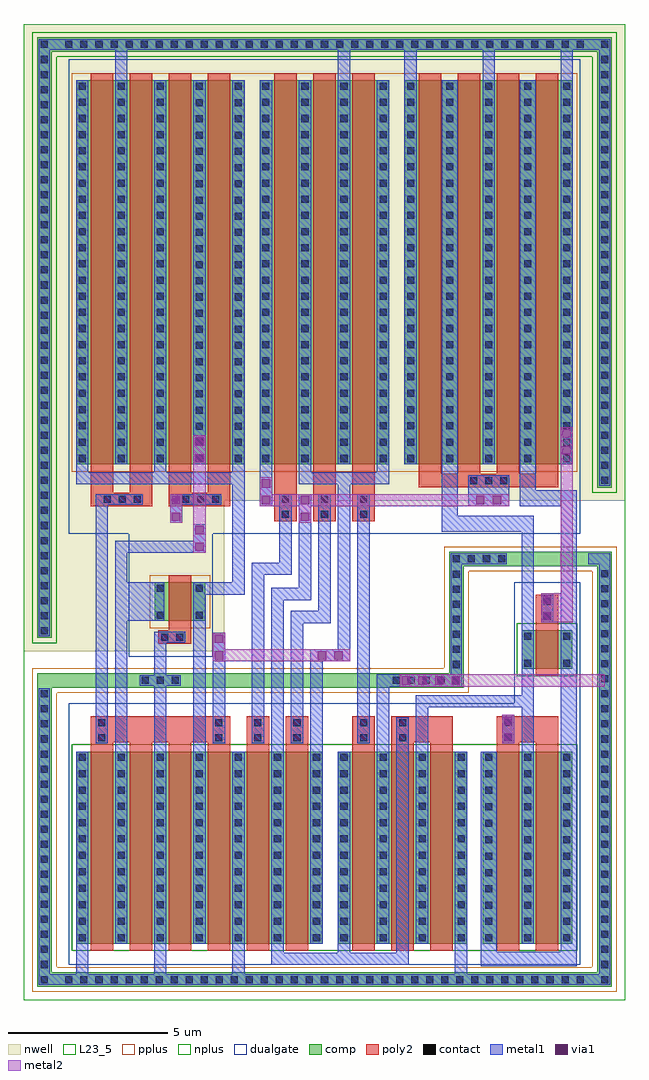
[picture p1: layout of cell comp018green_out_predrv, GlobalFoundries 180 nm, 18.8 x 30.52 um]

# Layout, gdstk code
from math import pi, radians
import gdstk
lib = gdstk.Library(unit=1e-6, precision=1e-09)
def R(c, l, rs):  # rectangles x0, y0, x1, y1
    for r in rs: c.add(gdstk.rectangle(r[:2], r[2:], *l))
def A(c, l, x, y, w, h, nx, ny, dx, dy):  # array of equal rectangles
    R(c, l, [(x+i*dx, y+j*dy, x+i*dx+w, y+j*dy+h) for i in range(nx) for j in range(ny)])
def P(c, l, *ps):  # polygons
    for p in ps: c.add(gdstk.Polygon(p, *l))
nwell = (21, 0)
comp = (22, 0)
L23_5 = (23, 5)
poly2 = (30, 0)
pplus = (31, 0)
nplus = (32, 0)
contact = (33, 0)
metal1 = (34, 0)
via1 = (35, 0)
metal2 = (36, 0)
dualgate = (55, 0)

nmos_6p0_cdns_4066195314 = lib.new_cell('nmos_6p0_CDNS_4066195314514')
R(nmos_6p0_cdns_4066195314, comp, [(-0.44,0,-0.08,1.2), (-0.44,0,1.14,1.2), (0.78,0,1.14,1.2)])
R(nmos_6p0_cdns_4066195314, poly2, [(0,-0.22,0.7,1.42), (0,1.2,0.7,1.42)])
R(nmos_6p0_cdns_4066195314, nplus, [(-0.6,-0.23,1.3,1.43)])
R(nmos_6p0_cdns_4066195314, contact, [(-0.37,0.07,-0.15,0.29), (0.85,0.07,1.07,0.29), (-0.37,0.91,-0.15,1.13), (0.85,0.91,1.07,1.13)])
R(nmos_6p0_cdns_4066195314, metal1, [(-0.375,0,-0.145,1.2), (-0.375,0,-0.145,1.2), (0.845,0,1.075,1.2), (0.845,0,1.075,1.2)])
R(nmos_6p0_cdns_4066195314, dualgate, [(-0.68,-0.62,1.38,1.82)])

c_nmos_6p0_cdns_4066195314 = lib.new_cell('nmos_6p0_CDNS_4066195314518')
A(c_nmos_6p0_cdns_4066195314, comp, -0.44, 0, 0.36, 6, 3, 1, 1.22, 0)
R(c_nmos_6p0_cdns_4066195314, comp, [(-0.44,0,2.36,6)])
R(c_nmos_6p0_cdns_4066195314, poly2, [(0,-0.22,0.7,6.22), (1.22,-0.22,1.92,6.22), (0,6,0.7,6.22), (1.22,6,1.92,6.22)])
R(c_nmos_6p0_cdns_4066195314, nplus, [(-0.6,-0.23,2.52,6.23)])
A(c_nmos_6p0_cdns_4066195314, contact, -0.37, 0.07, 0.22, 0.22, 3, 7, 1.22, 0.515)
A(c_nmos_6p0_cdns_4066195314, contact, -0.37, 3.67, 0.22, 0.22, 3, 5, 1.22, 0.51)
R(c_nmos_6p0_cdns_4066195314, metal1, [(-0.375,0,-0.145,6), (-0.375,0,-0.145,6), (0.845,0,1.075,6), (0.845,0,1.075,6), (2.065,0,2.295,6), (2.065,0,2.295,6)])
R(c_nmos_6p0_cdns_4066195314, dualgate, [(-0.68,-0.62,2.6,6.62)])

c_nmos_6p0_cdns_4066195314_ = lib.new_cell('nmos_6p0_CDNS_4066195314520')
A(c_nmos_6p0_cdns_4066195314_, comp, -0.44, 0, 0.36, 6, 3, 1, 1.22, 0)
R(c_nmos_6p0_cdns_4066195314_, comp, [(-0.44,0,2.36,6)])
R(c_nmos_6p0_cdns_4066195314_, poly2, [(0,-0.22,0.7,6.22), (1.22,-0.22,1.92,6.22), (0,6,0.7,6.22), (1.22,6,1.92,6.22)])
R(c_nmos_6p0_cdns_4066195314_, nplus, [(-0.6,-0.23,2.52,6.23)])
A(c_nmos_6p0_cdns_4066195314_, contact, -0.37, 0.07, 0.22, 0.22, 3, 7, 1.22, 0.515)
A(c_nmos_6p0_cdns_4066195314_, contact, -0.37, 3.67, 0.22, 0.22, 3, 5, 1.22, 0.51)
R(c_nmos_6p0_cdns_4066195314_, metal1, [(-0.375,0,-0.145,6), (-0.375,0,-0.145,6), (0.845,0,1.075,6), (0.845,0,1.075,6), (2.065,0,2.295,6), (2.065,0,2.295,6)])
R(c_nmos_6p0_cdns_4066195314_, dualgate, [(-0.68,-0.62,2.6,6.62)])

c_nmos_6p0_cdns_4066195314__ = lib.new_cell('nmos_6p0_CDNS_4066195314519')
R(c_nmos_6p0_cdns_4066195314__, comp, [(-0.44,0,-0.08,6), (-0.44,0,1.14,6), (0.78,0,1.14,6)])
R(c_nmos_6p0_cdns_4066195314__, poly2, [(0,-0.22,0.7,6.22), (0,6,0.7,6.22)])
R(c_nmos_6p0_cdns_4066195314__, nplus, [(-0.6,-0.23,1.3,6.23)])
A(c_nmos_6p0_cdns_4066195314__, contact, -0.37, 0.07, 0.22, 0.22, 1, 7, 0, 0.515)
A(c_nmos_6p0_cdns_4066195314__, contact, 0.85, 0.07, 0.22, 0.22, 1, 7, 0, 0.515)
A(c_nmos_6p0_cdns_4066195314__, contact, -0.37, 3.67, 0.22, 0.22, 1, 5, 0, 0.51)
A(c_nmos_6p0_cdns_4066195314__, contact, 0.85, 3.67, 0.22, 0.22, 1, 5, 0, 0.51)
R(c_nmos_6p0_cdns_4066195314__, metal1, [(-0.375,0,-0.145,6), (-0.375,0,-0.145,6), (0.845,0,1.075,6), (0.845,0,1.075,6)])
R(c_nmos_6p0_cdns_4066195314__, dualgate, [(-0.68,-0.62,1.38,6.62)])

pmos_6p0_cdns_4066195314 = lib.new_cell('pmos_6p0_CDNS_4066195314515')
R(pmos_6p0_cdns_4066195314, nwell, [(-1.04,-0.6,1.74,12.6)])
R(pmos_6p0_cdns_4066195314, comp, [(-0.44,0,-0.08,12), (-0.44,0,1.14,12), (0.78,0,1.14,12)])
R(pmos_6p0_cdns_4066195314, poly2, [(0,-0.22,0.7,12.22), (0,12,0.7,12.22)])
R(pmos_6p0_cdns_4066195314, pplus, [(-0.6,-0.23,1.3,12.23)])
A(pmos_6p0_cdns_4066195314, contact, -0.37, 0.07, 0.22, 0.22, 1, 6, 0, 0.51)
A(pmos_6p0_cdns_4066195314, contact, 0.85, 0.07, 0.22, 0.22, 1, 6, 0, 0.51)
A(pmos_6p0_cdns_4066195314, contact, -0.37, 3.125, 0.22, 0.22, 1, 18, 0, 0.505)
A(pmos_6p0_cdns_4066195314, contact, 0.85, 3.125, 0.22, 0.22, 1, 18, 0, 0.505)
R(pmos_6p0_cdns_4066195314, metal1, [(-0.375,0,-0.145,12), (-0.375,0,-0.145,12), (0.845,0,1.075,12), (0.845,0,1.075,12)])
R(pmos_6p0_cdns_4066195314, dualgate, [(-0.68,-0.62,1.38,12.62)])

c_pmos_6p0_cdns_4066195314 = lib.new_cell('pmos_6p0_CDNS_4066195314516')
R(c_pmos_6p0_cdns_4066195314, nwell, [(-1.04,-0.6,2.96,12.6)])
A(c_pmos_6p0_cdns_4066195314, comp, -0.44, 0, 0.36, 12, 3, 1, 1.22, 0)
R(c_pmos_6p0_cdns_4066195314, comp, [(-0.44,0,2.36,12)])
R(c_pmos_6p0_cdns_4066195314, poly2, [(0,-0.22,0.7,12.22), (1.22,-0.22,1.92,12.22), (0,12,0.7,12.22), (1.22,12,1.92,12.22)])
R(c_pmos_6p0_cdns_4066195314, pplus, [(-0.6,-0.23,2.52,12.23)])
A(c_pmos_6p0_cdns_4066195314, contact, -0.37, 0.07, 0.22, 0.22, 3, 6, 1.22, 0.51)
A(c_pmos_6p0_cdns_4066195314, contact, -0.37, 3.125, 0.22, 0.22, 3, 18, 1.22, 0.505)
R(c_pmos_6p0_cdns_4066195314, metal1, [(-0.375,0,-0.145,12), (-0.375,0,-0.145,12), (0.845,0,1.075,12), (0.845,0,1.075,12), (2.065,0,2.295,12), (2.065,0,2.295,12)])
R(c_pmos_6p0_cdns_4066195314, dualgate, [(-0.68,-0.62,2.6,12.62)])

c_pmos_6p0_cdns_4066195314_ = lib.new_cell('pmos_6p0_CDNS_4066195314517')
R(c_pmos_6p0_cdns_4066195314_, nwell, [(-1.04,-0.6,1.74,1.8)])
R(c_pmos_6p0_cdns_4066195314_, comp, [(-0.44,0,-0.08,1.2), (-0.44,0,1.14,1.2), (0.78,0,1.14,1.2)])
R(c_pmos_6p0_cdns_4066195314_, poly2, [(0,-0.22,0.7,1.42), (0,1.2,0.7,1.42)])
R(c_pmos_6p0_cdns_4066195314_, pplus, [(-0.6,-0.23,1.3,1.43)])
R(c_pmos_6p0_cdns_4066195314_, contact, [(-0.37,0.07,-0.15,0.29), (0.85,0.07,1.07,0.29), (-0.37,0.91,-0.15,1.13), (0.85,0.91,1.07,1.13)])
R(c_pmos_6p0_cdns_4066195314_, metal1, [(-0.375,0,-0.145,1.2), (-0.375,0,-0.145,1.2), (0.845,0,1.075,1.2), (0.845,0,1.075,1.2)])
R(c_pmos_6p0_cdns_4066195314_, dualgate, [(-0.68,-0.62,1.38,1.82)])

c_pmos_6p0_cdns_4066195314__ = lib.new_cell('pmos_6p0_CDNS_4066195314521')
R(c_pmos_6p0_cdns_4066195314__, nwell, [(-1.04,-0.6,2.56,12.6)])
R(c_pmos_6p0_cdns_4066195314__, comp, [(-0.44,0,-0.08,12), (-0.44,0,1.96,12), (0.78,0,1.14,12), (1.92,0,1.96,12)])
R(c_pmos_6p0_cdns_4066195314__, poly2, [(0,-0.22,0.7,12.22), (1.22,-0.22,1.92,12.22), (0,12,0.7,12.22), (1.22,12,1.92,12.22)])
R(c_pmos_6p0_cdns_4066195314__, pplus, [(-0.6,-0.23,2.12,12.23)])
A(c_pmos_6p0_cdns_4066195314__, contact, -0.37, 0.07, 0.22, 0.22, 1, 6, 0, 0.51)
A(c_pmos_6p0_cdns_4066195314__, contact, 0.85, 0.07, 0.22, 0.22, 1, 6, 0, 0.51)
A(c_pmos_6p0_cdns_4066195314__, contact, -0.37, 3.125, 0.22, 0.22, 1, 18, 0, 0.505)
A(c_pmos_6p0_cdns_4066195314__, contact, 0.85, 3.125, 0.22, 0.22, 1, 18, 0, 0.505)
R(c_pmos_6p0_cdns_4066195314__, metal1, [(-0.375,0,-0.145,12), (-0.375,0,-0.145,12), (0.845,0,1.075,12), (0.845,0,1.075,12)])
R(c_pmos_6p0_cdns_4066195314__, dualgate, [(-0.68,-0.62,2.2,12.62)])

m1_nwell_cdns_4066195314 = lib.new_cell('M1_NWELL_CDNS_40661953145231')
R(m1_nwell_cdns_4066195314, nwell, [(-0.64,-7.455,0.64,7.455)])
R(m1_nwell_cdns_4066195314, comp, [(-0.225,-7.04,0.225,7.04)])
R(m1_nwell_cdns_4066195314, nplus, [(-0.385,-7.2,0.385,7.2)])
A(m1_nwell_cdns_4066195314, contact, -0.11, -6.925, 0.22, 0.22, 1, 30, 0, 0.47)
R(m1_nwell_cdns_4066195314, metal1, [(-0.17,-6.985,0.17,6.985)])

c_m1_nwell_cdns_4066195314 = lib.new_cell('M1_NWELL_CDNS_40661953145236')
R(c_m1_nwell_cdns_4066195314, nwell, [(-0.64,-9.805,0.64,9.805)])
R(c_m1_nwell_cdns_4066195314, comp, [(-0.225,-9.39,0.225,9.39)])
R(c_m1_nwell_cdns_4066195314, nplus, [(-0.385,-9.55,0.385,9.55)])
A(c_m1_nwell_cdns_4066195314, contact, -0.11, -9.275, 0.22, 0.22, 1, 40, 0, 0.47)
R(c_m1_nwell_cdns_4066195314, metal1, [(-0.17,-9.335,0.17,9.335)])

c_m1_nwell_cdns_4066195314_ = lib.new_cell('M1_NWELL_CDNS_40661953145230')
R(c_m1_nwell_cdns_4066195314_, nwell, [(-8.63,-0.64,8.63,0.64)])
R(c_m1_nwell_cdns_4066195314_, comp, [(-8.215,-0.225,8.215,0.225)])
R(c_m1_nwell_cdns_4066195314_, nplus, [(-8.375,-0.385,8.375,0.385)])
A(c_m1_nwell_cdns_4066195314_, contact, -8.1, -0.11, 0.22, 0.22, 35, 1, 0.47, 0)
R(c_m1_nwell_cdns_4066195314_, metal1, [(-8.16,-0.17,8.16,0.17)])

m1_poly2_cdns_6903358316 = lib.new_cell('M1_POLY2_CDNS_69033583165346')
R(m1_poly2_cdns_6903358316, poly2, [(-0.445,-0.21,0.445,0.21)])
R(m1_poly2_cdns_6903358316, contact, [(-0.345,-0.11,-0.125,0.11), (0.125,-0.11,0.345,0.11)])
R(m1_poly2_cdns_6903358316, metal1, [(-0.405,-0.17,0.405,0.17)])

m2_m1_cdns_6903358316557 = lib.new_cell('M2_M1_CDNS_69033583165570')
R(m2_m1_cdns_6903358316557, metal1, [(-0.19,-0.45,0.19,0.45)])
R(m2_m1_cdns_6903358316557, via1, [(-0.13,-0.39,0.13,-0.13), (-0.13,0.13,0.13,0.39)])
R(m2_m1_cdns_6903358316557, metal2, [(-0.19,-0.45,0.19,0.45)])

m1_psub_cdns_69033583165 = lib.new_cell('M1_PSUB_CDNS_6903358316545')
R(m1_psub_cdns_69033583165, comp, [(-0.225,-1.635,0.225,1.635)])
R(m1_psub_cdns_69033583165, pplus, [(-0.385,-1.795,0.385,1.795)])
A(m1_psub_cdns_69033583165, contact, -0.11, -1.52, 0.22, 0.22, 1, 7, 0, 0.47)
R(m1_psub_cdns_69033583165, metal1, [(-0.17,-1.58,0.17,1.58)])

c_m1_poly2_cdns_6903358316 = lib.new_cell('M1_POLY2_CDNS_69033583165623')
R(c_m1_poly2_cdns_6903358316, poly2, [(-0.68,-0.21,0.68,0.21)])
A(c_m1_poly2_cdns_6903358316, contact, -0.58, -0.11, 0.22, 0.22, 3, 1, 0.47, 0)
R(c_m1_poly2_cdns_6903358316, metal1, [(-0.64,-0.17,0.64,0.17)])

c_m2_m1_cdns_6903358316557 = lib.new_cell('M2_M1_CDNS_69033583165575')
R(c_m2_m1_cdns_6903358316557, metal1, [(-0.97,-0.19,0.97,0.19)])
A(c_m2_m1_cdns_6903358316557, via1, -0.91, -0.13, 0.26, 0.26, 4, 1, 0.52, 0)
R(c_m2_m1_cdns_6903358316557, metal2, [(-0.97,-0.19,0.97,0.19)])

c_m1_psub_cdns_69033583165 = lib.new_cell('M1_PSUB_CDNS_69033583165621')
R(c_m1_psub_cdns_69033583165, comp, [(-1.165,-0.225,1.165,0.225)])
R(c_m1_psub_cdns_69033583165, pplus, [(-1.325,-0.385,1.325,0.385)])
A(c_m1_psub_cdns_69033583165, contact, -1.05, -0.11, 0.22, 0.22, 5, 1, 0.47, 0)
R(c_m1_psub_cdns_69033583165, metal1, [(-1.11,-0.17,1.11,0.17)])

c_m1_psub_cdns_69033583165_ = lib.new_cell('M1_PSUB_CDNS_69033583165624')
R(c_m1_psub_cdns_69033583165_, comp, [(-0.225,-4.69,0.225,4.69)])
R(c_m1_psub_cdns_69033583165_, pplus, [(-0.385,-4.85,0.385,4.85)])
A(c_m1_psub_cdns_69033583165_, contact, -0.11, -4.575, 0.22, 0.22, 1, 20, 0, 0.47)
R(c_m1_psub_cdns_69033583165_, metal1, [(-0.17,-4.635,0.17,4.635)])

c_m1_psub_cdns_69033583165__ = lib.new_cell('M1_PSUB_CDNS_69033583165625')
R(c_m1_psub_cdns_69033583165__, comp, [(-0.695,-0.225,0.695,0.225)])
R(c_m1_psub_cdns_69033583165__, pplus, [(-0.855,-0.385,0.855,0.385)])
A(c_m1_psub_cdns_69033583165__, contact, -0.58, -0.11, 0.22, 0.22, 3, 1, 0.47, 0)
R(c_m1_psub_cdns_69033583165__, metal1, [(-0.64,-0.17,0.64,0.17)])

c_m1_psub_cdns_69033583165___ = lib.new_cell('M1_PSUB_CDNS_69033583165626')
R(c_m1_psub_cdns_69033583165___, comp, [(-0.225,-6.57,0.225,6.57)])
R(c_m1_psub_cdns_69033583165___, pplus, [(-0.385,-6.73,0.385,6.73)])
A(c_m1_psub_cdns_69033583165___, contact, -0.11, -6.455, 0.22, 0.22, 1, 28, 0, 0.47)
R(c_m1_psub_cdns_69033583165___, metal1, [(-0.17,-6.515,0.17,6.515)])

c_m1_psub_cdns_69033583165____ = lib.new_cell('M1_PSUB_CDNS_69033583165627')
R(c_m1_psub_cdns_69033583165____, comp, [(-0.93,-0.225,0.93,0.225)])
R(c_m1_psub_cdns_69033583165____, pplus, [(-1.09,-0.385,1.09,0.385)])
A(c_m1_psub_cdns_69033583165____, contact, -0.815, -0.11, 0.22, 0.22, 4, 1, 0.47, 0)
R(c_m1_psub_cdns_69033583165____, metal1, [(-0.875,-0.17,0.875,0.17)])

c_m1_psub_cdns_69033583165_____ = lib.new_cell('M1_PSUB_CDNS_69033583165628')
R(c_m1_psub_cdns_69033583165_____, comp, [(-8.215,-0.225,8.215,0.225)])
R(c_m1_psub_cdns_69033583165_____, pplus, [(-8.375,-0.385,8.375,0.385)])
A(c_m1_psub_cdns_69033583165_____, contact, -8.1, -0.11, 0.22, 0.22, 35, 1, 0.47, 0)
R(c_m1_psub_cdns_69033583165_____, metal1, [(-8.16,-0.17,8.16,0.17)])

comp018green_out_predrv = lib.new_cell('comp018green_out_predrv')
P(comp018green_out_predrv, nwell, [(0.865,10.49),(0.865,15.735),(17.105,15.735),(17.105,15.19),(5.855,15.19),(5.855,10.49)])
R(comp018green_out_predrv, comp, [(0.45,0,0.77,0.45), (17.2,0,17.52,0.45), (1.235,16.335,6.475,28.335), (0.45,29.235,0.77,29.685), (17.2,29.235,17.52,29.685)])
P(comp018green_out_predrv, comp, [(0.45,9.35),(0.45,9.38),(0,9.38),(0,9.8),(12.885,9.8),(12.885,12.385),(13.335,12.385),(13.335,9.35)],
  [(17.52,12.2),(17.52,13.15),(13.335,13.15),(13.335,12.385),(12.885,12.385),(12.885,13.6),(17.97,13.6),(17.97,12.2)])
R(comp018green_out_predrv, L23_5, [(-0.415,-0.415,18.385,30.1)])
A(comp018green_out_predrv, poly2, 5.335, 7.57, 0.7, 0.89, 3, 1, 1.22, 0)
A(comp018green_out_predrv, poly2, 7.415, 14.555, 0.7, 1.56, 3, 1, 1.22, 0)
R(comp018green_out_predrv, poly2, [(1.675,7.57,2.375,8.46), (9.855,7.57,10.555,8.46), (11.075,7.57,11.775,8.46), (14.375,7.57,15.075,8.46), (4.115,10.72,4.815,11.22), (15.595,11.36,16.295,12.25)])
P(comp018green_out_predrv, poly2, [(1.675,7.57),(1.675,8.46),(6.035,8.46),(6.035,7.57),(5.335,7.57),(5.335,7.65),(4.815,7.65),(4.815,7.57),(4.115,7.57),(4.115,7.65),(3.595,7.65),(3.595,7.57),(2.895,7.57),(2.895,7.65),(2.375,7.65),(2.375,7.57)],
  [(4.115,15.025),(4.115,16.115),(4.815,16.115),(4.815,15.445),(5.335,15.445),(5.335,16.115),(6.035,16.115),(6.035,15.025)],
  [(11.935,15.615),(11.935,16.115),(12.635,16.115),(12.635,16.035),(13.155,16.035),(13.155,16.115),(13.855,16.115),(13.855,16.035),(14.375,16.035),(14.375,16.115),(15.075,16.115),(15.075,16.035),(15.595,16.035),(15.595,16.115),(16.295,16.115),(16.295,15.615)],
  [(11.075,7.57),(11.075,8.46),(12.995,8.46),(12.995,7.57),(12.295,7.57),(12.295,7.65),(11.775,7.65),(11.775,7.57)],
  [(1.675,15.025),(1.675,16.115),(2.375,16.115),(2.375,15.445),(2.895,15.445),(2.895,16.115),(3.595,16.115),(3.595,15.025)],
  [(14.375,7.57),(14.375,8.46),(16.295,8.46),(16.295,7.57),(15.595,7.57),(15.595,7.65),(15.075,7.65),(15.075,7.57)])
R(comp018green_out_predrv, pplus, [(1.075,16.105,16.895,28.565)])
P(comp018green_out_predrv, pplus, [(17.36,12.36),(17.36,12.99),(12.725,12.99),(12.725,13.76),(18.13,13.76),(18.13,12.36)],
  [(0.61,9.19),(0.61,9.54),(-0.16,9.54),(-0.16,9.96),(12.725,9.96),(12.725,12.99),(13.495,12.99),(13.495,9.19)])
R(comp018green_out_predrv, nplus, [(1.075,1.12,16.895,7.58)])
R(comp018green_out_predrv, metal1, [(0.395,0.055,0.825,0.395), (17.145,0.055,17.575,0.395), (12.94,9.765,13.28,9.94), (15.145,9.94,15.525,11.14), (2.445,11.44,3.97,12.64), (12.94,13.065,13.28,13.205), (13.475,15.025,14.755,15.995), (0.395,29.29,0.825,29.63), (17.145,29.29,17.575,29.63)])
P(comp018green_out_predrv, metal1, [(17.575,13.085),(17.575,13.205),(17.225,13.205),(17.225,13.545),(17.915,13.545),(17.915,13.085)])
R(comp018green_out_predrv, metal2, [(15.755,11.4,16.745,12.3)])
R(comp018green_out_predrv, dualgate, [(0.995,0.69,16.975,8.86), (14.915,8.86,16.975,12.65), (2.86,10.32,5.495,14.155), (0.995,14.155,16.975,28.995)])
comp018green_out_predrv.add(gdstk.FlexPath([(10.815,28.335),(10.815,15.705)], 0.38, ends="flush", simple_path=True, layer=34, datatype=0))  # metal1
comp018green_out_predrv.add(gdstk.FlexPath([(14.115,7.35),(14.115,0.645)], 0.5, ends="flush", simple_path=True, layer=34, datatype=0))  # metal1
comp018green_out_predrv.add(gdstk.FlexPath([(2.025,7.61),(2.025,15.405)], 0.38, ends="flush", simple_path=True, layer=34, datatype=0))  # metal1
comp018green_out_predrv.add(gdstk.FlexPath([(14.115,16.335),(14.115,29.63)], 0.38, ends="flush", simple_path=True, layer=34, datatype=0))  # metal1
comp018green_out_predrv.add(gdstk.FlexPath([(11.675,16.335),(11.675,29.63)], 0.38, ends="flush", simple_path=True, layer=34, datatype=0))  # metal1
comp018green_out_predrv.add(gdstk.FlexPath([(5.075,16.335),(5.075,28.335)], 0.38, ends="flush", simple_path=True, layer=34, datatype=0))  # metal1
comp018green_out_predrv.add(gdstk.FlexPath([(9.595,16.335),(9.595,29.63)], 0.38, ends="flush", simple_path=True, layer=34, datatype=0))  # metal1
comp018green_out_predrv.add(gdstk.FlexPath([(6.295,7.35),(6.295,0.055)], 0.38, ends="flush", simple_path=True, layer=34, datatype=0))  # metal1
comp018green_out_predrv.add(gdstk.FlexPath([(3.855,11.1),(3.855,0.055)], 0.38, ends="flush", simple_path=True, layer=34, datatype=0))  # metal1
comp018green_out_predrv.add(gdstk.FlexPath([(8.735,1.35),(8.735,10.55)], 0.38, ends="flush", simple_path=True, layer=34, datatype=0))  # metal1
comp018green_out_predrv.add(gdstk.FlexPath([(5.685,7.61),(5.685,10.55)], 0.38, ends="flush", simple_path=True, layer=34, datatype=0))  # metal1
comp018green_out_predrv.add(gdstk.FlexPath([(7.155,15.025),(7.155,28.335)], 0.38, ends="flush", simple_path=True, layer=34, datatype=0))  # metal1
comp018green_out_predrv.add(gdstk.FlexPath([(2.635,16.335),(2.635,29.63)], 0.38, ends="flush", simple_path=True, layer=34, datatype=0))  # metal1
comp018green_out_predrv.add(gdstk.FlexPath([(13.865,0.87),(16.865,0.87)], 0.45, ends="flush", simple_path=True, layer=34, datatype=0))  # metal1
comp018green_out_predrv.add(gdstk.FlexPath([(15.335,14.725),(15.335,1.35)], 0.38, ends="flush", simple_path=True, layer=34, datatype=0))  # metal1
comp018green_out_predrv.add(gdstk.FlexPath([(1.415,7.35),(1.415,0.055)], 0.38, ends="flush", simple_path=True, layer=34, datatype=0))  # metal1
comp018green_out_predrv.add(gdstk.FlexPath([(13.255,7.35),(13.255,0.055)], 0.38, ends="flush", simple_path=True, layer=34, datatype=0))  # metal1
comp018green_out_predrv.add(gdstk.FlexPath([(9.595,16.085),(9.595,10.17)], 0.38, ends="flush", simple_path=True, layer=34, datatype=0))  # metal1
comp018green_out_predrv.add(gdstk.FlexPath([(10.205,7.61),(10.205,15.405)], 0.38, ends="flush", simple_path=True, layer=34, datatype=0))  # metal1
comp018green_out_predrv.add(gdstk.FlexPath([(16.555,16.335),(16.555,29.63)], 0.38, ends="flush", simple_path=True, layer=34, datatype=0))  # metal1
comp018green_out_predrv.add(gdstk.FlexPath([(11.425,8.42),(11.425,0.87),(9.595,0.87)], 0.38, ends=(0, 0.19), simple_path=True, layer=34, datatype=0))  # metal1
comp018green_out_predrv.add(gdstk.FlexPath([(9.595,7.35),(9.595,0.87),(7.515,0.87),(7.515,12.28),(8.375,12.28),(8.375,14.54)], 0.38, ends="flush", simple_path=True, layer=34, datatype=0))  # metal1
comp018green_out_predrv.add(gdstk.FlexPath([(10.815,15.895),(8.375,15.895),(8.375,28.335)], 0.38, ends=(0.19, 0), simple_path=True, layer=34, datatype=0))  # metal1
comp018green_out_predrv.add(gdstk.FlexPath([(15.525,8.93),(12.035,8.93),(12.035,1.35)], 0.38, ends="flush", simple_path=True, layer=34, datatype=0))  # metal1
comp018green_out_predrv.add(gdstk.FlexPath([(13.28,9.575),(10.815,9.575),(10.815,1.35)], 0.38, ends="flush", simple_path=True, layer=34, datatype=0))  # metal1
comp018green_out_predrv.add(gdstk.FlexPath([(5.075,1.35),(5.075,12.45),(6.295,12.45),(6.295,16.085)], 0.38, ends="flush", simple_path=True, layer=34, datatype=0))  # metal1
comp018green_out_predrv.add(gdstk.FlexPath([(2.635,1.35),(2.635,13.755),(5.265,13.755)], 0.38, ends="flush", simple_path=True, layer=34, datatype=0))  # metal1
comp018green_out_predrv.add(gdstk.FlexPath([(6.295,28.335),(6.295,15.895),(3.855,15.895)], 0.38, ends=(0, 0.19), simple_path=True, layer=34, datatype=0))  # metal1
comp018green_out_predrv.add(gdstk.FlexPath([(16.615,0.645),(16.615,15.275),(15.335,15.275),(15.335,28.335)], 0.5, ends="flush", simple_path=True, layer=34, datatype=0))  # metal1
comp018green_out_predrv.add(gdstk.FlexPath([(8.125,7.61),(8.125,11.56),(8.985,11.56),(8.985,15.405)], 0.38, ends="flush", simple_path=True, layer=34, datatype=0))  # metal1
comp018green_out_predrv.add(gdstk.FlexPath([(6.905,7.61),(6.905,13.07),(7.765,13.07),(7.765,15.405)], 0.38, ends="flush", simple_path=True, layer=34, datatype=0))  # metal1
comp018green_out_predrv.add(gdstk.FlexPath([(3.855,28.335),(3.855,15.895),(1.415,15.895),(1.415,28.335)], 0.38, ends="flush", simple_path=True, layer=34, datatype=0))  # metal1
comp018green_out_predrv.add(gdstk.FlexPath([(15.525,14.475),(12.895,14.475),(12.895,28.335)], 0.5, ends="flush", simple_path=True, layer=34, datatype=0))  # metal1
comp018green_out_predrv.add(gdstk.FlexPath([(5.075,17.235),(5.075,13.565)], 0.38, ends="flush", simple_path=True, layer=36, datatype=0))  # metal2
comp018green_out_predrv.add(gdstk.FlexPath([(6.965,15.215),(14.755,15.215)], 0.38, ends="flush", simple_path=True, layer=36, datatype=0))  # metal2
comp018green_out_predrv.add(gdstk.FlexPath([(5.495,10.36),(9.785,10.36)], 0.38, ends="flush", simple_path=True, layer=36, datatype=0))  # metal2
comp018green_out_predrv.add(gdstk.FlexPath([(16.555,11.4),(16.555,17.485)], 0.38, ends="flush", simple_path=True, layer=36, datatype=0))  # metal2
comp018green_out_predrv.add(gdstk.FlexPath([(11.34,9.575),(17.745,9.575)], 0.38, ends="flush", simple_path=True, layer=36, datatype=0))  # metal2
comp018green_out_predrv.add(gdstk.Reference(nmos_6p0_cdns_4066195314, (15.595,9.94)))
comp018green_out_predrv.add(gdstk.Reference(c_nmos_6p0_cdns_4066195314, (12.995,1.35), rotation=pi, x_reflection=True))
comp018green_out_predrv.add(gdstk.Reference(c_nmos_6p0_cdns_4066195314, (6.035,1.35), rotation=pi, x_reflection=True))
comp018green_out_predrv.add(gdstk.Reference(c_nmos_6p0_cdns_4066195314_, (3.595,1.35), rotation=pi, x_reflection=True))
comp018green_out_predrv.add(gdstk.Reference(c_nmos_6p0_cdns_4066195314_, (16.295,7.35), rotation=pi))
comp018green_out_predrv.add(gdstk.Reference(c_nmos_6p0_cdns_4066195314__, (10.555,1.35), rotation=pi, x_reflection=True))
comp018green_out_predrv.add(gdstk.Reference(c_nmos_6p0_cdns_4066195314__, (7.255,1.35), rotation=pi, x_reflection=True))
comp018green_out_predrv.add(gdstk.Reference(c_nmos_6p0_cdns_4066195314__, (8.475,1.35), rotation=pi, x_reflection=True))
comp018green_out_predrv.add(gdstk.Reference(pmos_6p0_cdns_4066195314, (8.115,16.335), rotation=pi, x_reflection=True))
comp018green_out_predrv.add(gdstk.Reference(pmos_6p0_cdns_4066195314, (10.555,16.335), rotation=pi, x_reflection=True))
comp018green_out_predrv.add(gdstk.Reference(pmos_6p0_cdns_4066195314, (9.335,16.335), rotation=pi, x_reflection=True))
comp018green_out_predrv.add(gdstk.Reference(c_pmos_6p0_cdns_4066195314, (1.675,16.335)))
comp018green_out_predrv.add(gdstk.Reference(c_pmos_6p0_cdns_4066195314, (11.935,16.335)))
comp018green_out_predrv.add(gdstk.Reference(c_pmos_6p0_cdns_4066195314, (14.375,16.335)))
comp018green_out_predrv.add(gdstk.Reference(c_pmos_6p0_cdns_4066195314_, (4.815,11.44), rotation=pi, x_reflection=True))
comp018green_out_predrv.add(gdstk.Reference(c_pmos_6p0_cdns_4066195314__, (6.035,28.335), rotation=pi))
comp018green_out_predrv.add(gdstk.Reference(m1_nwell_cdns_4066195314, (17.745,22.645)))
comp018green_out_predrv.add(gdstk.Reference(c_m1_nwell_cdns_4066195314, (0.225,20.295)))
comp018green_out_predrv.add(gdstk.Reference(c_m1_nwell_cdns_4066195314_, (8.985,29.46)))
comp018green_out_predrv.add(gdstk.Reference(m1_poly2_cdns_6903358316, (8.985,15), rotation=3*pi/2, x_reflection=True))
comp018green_out_predrv.add(gdstk.Reference(m1_poly2_cdns_6903358316, (10.205,15), rotation=3*pi/2, x_reflection=True))
comp018green_out_predrv.add(gdstk.Reference(m1_poly2_cdns_6903358316, (7.765,15), rotation=3*pi/2, x_reflection=True))
comp018green_out_predrv.add(gdstk.Reference(m1_poly2_cdns_6903358316, (10.205,8.015), rotation=pi/2))
comp018green_out_predrv.add(gdstk.Reference(m1_poly2_cdns_6903358316, (14.725,8.015), rotation=pi/2))
comp018green_out_predrv.add(gdstk.Reference(m1_poly2_cdns_6903358316, (11.425,8.015), rotation=pi/2))
comp018green_out_predrv.add(gdstk.Reference(m1_poly2_cdns_6903358316, (6.905,8.015), rotation=pi/2))
comp018green_out_predrv.add(gdstk.Reference(m1_poly2_cdns_6903358316, (5.685,8.015), rotation=pi/2))
comp018green_out_predrv.add(gdstk.Reference(m1_poly2_cdns_6903358316, (8.125,8.015), rotation=pi/2))
comp018green_out_predrv.add(gdstk.Reference(m1_poly2_cdns_6903358316, (15.945,11.805), rotation=pi/2))
comp018green_out_predrv.add(gdstk.Reference(m1_poly2_cdns_6903358316, (2.025,8.015), rotation=pi/2))
comp018green_out_predrv.add(gdstk.Reference(m1_poly2_cdns_6903358316, (4.23,10.93)))
comp018green_out_predrv.add(gdstk.Reference(m2_m1_cdns_6903358316557, (14.115,15.215), rotation=pi/2))
comp018green_out_predrv.add(gdstk.Reference(m2_m1_cdns_6903358316557, (9.165,10.36), rotation=pi/2))
comp018green_out_predrv.add(gdstk.Reference(m2_m1_cdns_6903358316557, (5.685,10.62)))
comp018green_out_predrv.add(gdstk.Reference(m2_m1_cdns_6903358316557, (5.075,14.015)))
comp018green_out_predrv.add(gdstk.Reference(m2_m1_cdns_6903358316557, (8.375,14.955)))
comp018green_out_predrv.add(gdstk.Reference(m2_m1_cdns_6903358316557, (15.945,11.85)))
comp018green_out_predrv.add(gdstk.Reference(m2_m1_cdns_6903358316557, (14.725,8.06)))
comp018green_out_predrv.add(gdstk.Reference(m2_m1_cdns_6903358316557, (7.155,15.475)))
comp018green_out_predrv.add(gdstk.Reference(m2_m1_cdns_6903358316557, (5.075,16.785)))
comp018green_out_predrv.add(gdstk.Reference(m2_m1_cdns_6903358316557, (4.345,14.955)))
comp018green_out_predrv.add(gdstk.Reference(m2_m1_cdns_6903358316557, (16.555,17.035)))
comp018green_out_predrv.add(gdstk.Reference(m1_psub_cdns_69033583165, (13.11,11.485)))
comp018green_out_predrv.add(gdstk.Reference(c_m1_poly2_cdns_6903358316, (2.665,15.235), x_reflection=True))
comp018green_out_predrv.add(gdstk.Reference(c_m1_poly2_cdns_6903358316, (5.115,15.235), x_reflection=True))
comp018green_out_predrv.add(gdstk.Reference(c_m1_poly2_cdns_6903358316, (14.115,15.825), rotation=pi))
comp018green_out_predrv.add(gdstk.Reference(c_m2_m1_cdns_6903358316557, (12.31,9.575)))
comp018green_out_predrv.add(gdstk.Reference(c_m1_psub_cdns_69033583165, (12.17,9.575)))
comp018green_out_predrv.add(gdstk.Reference(c_m1_psub_cdns_69033583165_, (0.225,4.69)))
comp018green_out_predrv.add(gdstk.Reference(c_m1_psub_cdns_69033583165__, (3.855,9.575)))
comp018green_out_predrv.add(gdstk.Reference(c_m1_psub_cdns_69033583165___, (17.745,6.57)))
comp018green_out_predrv.add(gdstk.Reference(c_m1_psub_cdns_69033583165____, (13.815,13.375)))
comp018green_out_predrv.add(gdstk.Reference(c_m1_psub_cdns_69033583165_____, (8.985,0.225)))

lib.write_gds('comp018green_out_predrv.gds')
